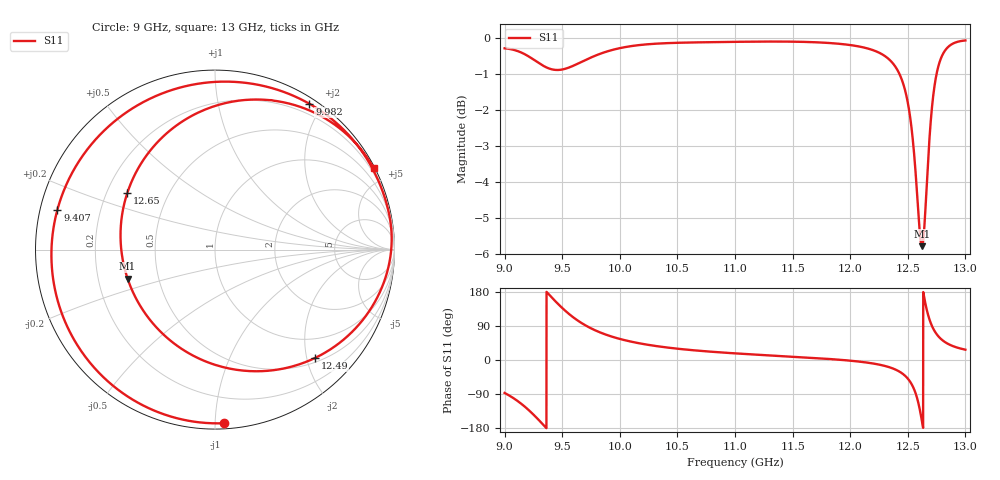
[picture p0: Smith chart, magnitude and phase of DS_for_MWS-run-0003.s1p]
! TOUCHSTONE file generated by CST DESIGN STUDIO
! Date and time: Tue Feb  4 12:44:40 2025
! Project name: C:\Work\MatlabApps\UnitCellOptimizationMatlab\CST\unitcell.cst
! Tree item: Tasks\Sweep1\SPara1\S-Parameters
! Header version: 2024
! Port assignment regex: !\s*Touchstone port\s*([0-9]+)\s*=\s*(CST MWS port|CST DES external port|CST DES block port)\s*(.+)\s* \(\"(.*)\"\)(\s*mode\s*([0-9]+))?.*
! Touchstone port assignment:
! Touchstone port 1 = CST DES external port 1 ("")
# GHz S MA R 50
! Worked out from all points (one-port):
!   4001 points, 9 GHz to 13 GHz, reference 50 ohm
!   lowest |S11| = -5.8 dB at 12.62 GHz (marker M1), VSWR 3.11, Z = 16.5 - j7.24 ohm
!   |S11| at or under -10 dB: nowhere
!   S11 on the Smith chart (normalised r, x): 9 GHz: 0.03, -1.05; 9.407 GHz: 0.05, +0.12; 9.982 GHz: 0.07, +1.84; 12.49 GHz: 0.58, -2.15; 12.65 GHz: 0.29, +0.27; 13 GHz: 0.06, +4.13
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9  0.9687 -87.0
9.106  0.961 -106.7
9.195  0.9466 -128.3
9.309  0.9213 -162.3
9.407  0.9057 165.8
9.5  0.905 137.3
9.586  0.9144 114.9
9.683  0.9299 94.7
9.825  0.9512 73.3
9.982  0.9678 57.1
10  0.9692 55.6
10.5  0.986 29.8
11  0.989 17.5
11.5  0.9896 8.7
12  0.9789 -1.8
12.344  0.9329 -19.5
12.432  0.8889 -31.5
12.495  0.8215 -47.3
12.5  0.8137 -49.1
12.571  0.6392 -90.7
12.597  0.5551 -120.4
12.623  0.5132 -161.6
12.654  0.5818 147.1
12.691  0.7362 104.4
12.733  0.8608 76.2
12.779  0.9298 58.1
12.833  0.9664 45.3
13  0.9934 27.2
